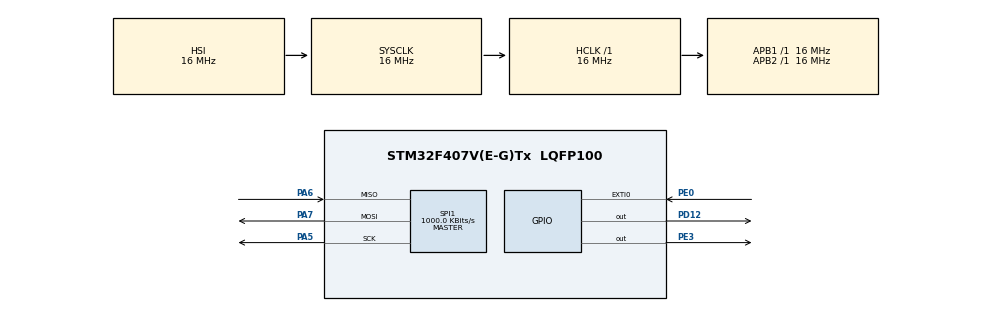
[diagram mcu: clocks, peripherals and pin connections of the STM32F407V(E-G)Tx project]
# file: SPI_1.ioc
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Mcu.Family=STM32F4
Mcu.Name=STM32F407V(E-G)Tx
Mcu.Package=LQFP100
NVIC.EXTI0_IRQn=true\:0\:0\:false\:false\:true\:true\:true
NVIC.PriorityGroup=NVIC_PRIORITYGROUP_4
PA5.Mode=Full_Duplex_Master
PA5.Signal=SPI1_SCK
PA6.Mode=Full_Duplex_Master
PA6.Signal=SPI1_MISO
PA7.Mode=Full_Duplex_Master
PA7.Signal=SPI1_MOSI
PD12.Signal=GPIO_Output
PE0.Signal=GPXTI0
PE3.PinState=GPIO_PIN_SET
PE3.Signal=GPIO_Output
ProjectManager.HeapSize=0x200
ProjectManager.StackSize=0x400
ProjectManager.TargetToolchain=STM32CubeIDE
RCC.AHBFreq_Value=16000000
RCC.APB1Freq_Value=16000000
RCC.APB2Freq_Value=16000000
RCC.CortexFreq_Value=16000000
RCC.HSE_VALUE=25000000
RCC.HSI_VALUE=16000000
RCC.LSE_VALUE=32768
RCC.SYSCLKFreq_VALUE=16000000
RCC.VCOOutputFreq_Value=192000000
SPI1.BaudRatePrescaler=SPI_BAUDRATEPRESCALER_16
SPI1.CalculateBaudRate=1000.0 KBits/s
SPI1.Direction=SPI_DIRECTION_2LINES
SPI1.Mode=SPI_MODE_MASTER
SPI1.VirtualType=VM_MASTER
board=custom

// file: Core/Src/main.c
/* USER CODE BEGIN Header */
/**
  ******************************************************************************
  * @file           : main.c
  * @brief          : Main program body
  ******************************************************************************
  * @attention
  *
  * <h2><center>&copy; Copyright (c) 2021 STMicroelectronics.
  * All rights reserved.</center></h2>
  *
  * This software component is licensed by ST under BSD 3-Clause license,
  * the "License"; You may not use this file except in compliance with the
  * License. You may obtain a copy of the License at:
  *                        opensource.org/licenses/BSD-3-Clause
  *
  ******************************************************************************
  */
/* USER CODE END Header */
#include "main.h"

SPI_HandleTypeDef hspi1;

void SystemClock_Config(void);
static void MX_GPIO_Init(void);
static void MX_SPI1_Init(void);

/* USER CODE BEGIN 0 */

// enable 2 variables /buffers ,Tx +Rx , Tx buffer store info to be transmitted (via SPI), Rx stores received data
uint8_t spiTxBuf[2], spiRxBuf[2];

/* USER CODE END 0 */

int main(void)
{

  /* MCU Configuration--------------------------------------------------------*/

  /* Reset of all peripherals, Initializes the Flash interface and the Systick. */
  HAL_Init();

  /* Configure the system clock */
  SystemClock_Config();

  /* Initialize all configured peripherals */
  MX_GPIO_Init();
  MX_SPI1_Init();
  /* USER CODE BEGIN 2 */

  /*******SPI Transmit*******/
  //1. Bring slave select (PE3) LOW (ON/activates slave)
  HAL_GPIO_WritePin(GPIOE, GPIO_PIN_3, GPIO_PIN_RESET); //reset -> LOW

  //2. The Transmit register address [0x20] + data in [0x11],
  spiTxBuf[0] = 0x20; //register address for control reg 4 (enables it - 0x20)
  spiTxBuf[1] = 0x31; //write data to control reg 4, 0x11 enable x-axi and ODR = 3Hz (look at doc for 0x31)
  //Write 0x20 and 0x11 to the reg
  HAL_SPI_Transmit(&hspi1,spiTxBuf,2,50); //takes handle,txbuffer address(just array),2bytes(data size),50ms(timeout)

  //3. Bring slave select HIGH
  HAL_GPIO_WritePin(GPIOE, GPIO_PIN_3, GPIO_PIN_SET); //set -> HIGH

  /*******SPI Receive********/
  //read data from reg 0x20 (control reg 4) to verify data is written

  //1. Bring slave select LOW
  HAL_GPIO_WritePin(GPIOE, GPIO_PIN_3, GPIO_PIN_RESET);

  //2. Transmit register address + 0x80 to set MSB (most sig big) HIGH [enables read mode]
  spiTxBuf[0] = 0x20 | 0x80; // | = or ,for interrupt use ctrl reg 3 = 0x23
  spiTxBuf[1] = 0xC8; //comment out if no interrupt, for interrupt set to 0xC8

  //then transmit it to slave device (using HAL transmit func)
  HAL_SPI_Transmit(&hspi1,spiTxBuf,1,50); // only sending 1 byte

  //3. Receive data
  HAL_SPI_Receive(&hspi1, spiRxBuf, 1,50);// read only 1 byte as this is 1 byte reg (data sheet)- control reg 4

  //4. Bring slave select HIGH (default OFF)
  HAL_GPIO_WritePin(GPIOE, GPIO_PIN_3, GPIO_PIN_SET);

  /* USER CODE END 2 */

  /* Infinite loop */
  while (1)
  {

    /* USER CODE BEGIN 3 */
//	/*******SPI Receive- Continous reading of x-axis acceleration********/
//	//x-axis (tilting the board on its x-axis )
//	//1. Bring slave select LOW
//	HAL_GPIO_WritePin(GPIOE, GPIO_PIN_3, GPIO_PIN_RESET);
//
//	//2. Transmit register address + 0x80 to set MSB (most sig big) HIGH [enables read mode]
//	spiTxBuf[0] = 0x29 | 0x80; // this one register 29
//
//	//then transmit it to slave device (using HAL transmit func)
//	HAL_SPI_Transmit(&hspi1,spiTxBuf,1,50); // only sending 1 byte
//
//	//3. Receive data
//	HAL_SPI_Receive(&hspi1, spiRxBuf, 1,50);// read only 1 byte as this is 1 byte reg (data sheet)- control reg 4
//
//	//4. Bring slave select HIGH (default OFF)
//	HAL_GPIO_WritePin(GPIOE, GPIO_PIN_3, GPIO_PIN_SET);
//
//	HAL_Delay(300); // reading every 300ms (polling method) - not efficient as continously reading (use interrupt)

  }
  /* USER CODE END 3 */
}

void SystemClock_Config(void)
{
  RCC_OscInitTypeDef RCC_OscInitStruct = {0};
  RCC_ClkInitTypeDef RCC_ClkInitStruct = {0};

  /** Configure the main internal regulator output voltage
  */
  __HAL_RCC_PWR_CLK_ENABLE();
  __HAL_PWR_VOLTAGESCALING_CONFIG(PWR_REGULATOR_VOLTAGE_SCALE1);
  /** Initializes the RCC Oscillators according to the specified parameters
  * in the RCC_OscInitTypeDef structure.
  */
  RCC_OscInitStruct.OscillatorType = RCC_OSCILLATORTYPE_HSI;
  RCC_OscInitStruct.HSIState = RCC_HSI_ON;
  RCC_OscInitStruct.HSICalibrationValue = RCC_HSICALIBRATION_DEFAULT;
  RCC_OscInitStruct.PLL.PLLState = RCC_PLL_NONE;
  if (HAL_RCC_OscConfig(&RCC_OscInitStruct) != HAL_OK)
  {
    Error_Handler();
  }
  /** Initializes the CPU, AHB and APB buses clocks
  */
  RCC_ClkInitStruct.ClockType = RCC_CLOCKTYPE_HCLK|RCC_CLOCKTYPE_SYSCLK
                              |RCC_CLOCKTYPE_PCLK1|RCC_CLOCKTYPE_PCLK2;
  RCC_ClkInitStruct.SYSCLKSource = RCC_SYSCLKSOURCE_HSI;
  RCC_ClkInitStruct.AHBCLKDivider = RCC_SYSCLK_DIV1;
  RCC_ClkInitStruct.APB1CLKDivider = RCC_HCLK_DIV1;
  RCC_ClkInitStruct.APB2CLKDivider = RCC_HCLK_DIV1;

  if (HAL_RCC_ClockConfig(&RCC_ClkInitStruct, FLASH_LATENCY_0) != HAL_OK)
  {
    Error_Handler();
  }
}

static void MX_SPI1_Init(void)
{

  /* SPI1 parameter configuration*/
  hspi1.Instance = SPI1;
  hspi1.Init.Mode = SPI_MODE_MASTER;
  hspi1.Init.Direction = SPI_DIRECTION_2LINES;
  hspi1.Init.DataSize = SPI_DATASIZE_8BIT;
  hspi1.Init.CLKPolarity = SPI_POLARITY_LOW;
  hspi1.Init.CLKPhase = SPI_PHASE_1EDGE;
  hspi1.Init.NSS = SPI_NSS_SOFT;
  hspi1.Init.BaudRatePrescaler = SPI_BAUDRATEPRESCALER_16;
  hspi1.Init.FirstBit = SPI_FIRSTBIT_MSB;
  hspi1.Init.TIMode = SPI_TIMODE_DISABLE;
  hspi1.Init.CRCCalculation = SPI_CRCCALCULATION_DISABLE;
  hspi1.Init.CRCPolynomial = 10;
  if (HAL_SPI_Init(&hspi1) != HAL_OK)
  {
    Error_Handler();
  }

}

static void MX_GPIO_Init(void)
{
  GPIO_InitTypeDef GPIO_InitStruct = {0};

  /* GPIO Ports Clock Enable */
  __HAL_RCC_GPIOE_CLK_ENABLE();
  __HAL_RCC_GPIOA_CLK_ENABLE();
  __HAL_RCC_GPIOD_CLK_ENABLE();

  /*Configure GPIO pin Output Level */
  HAL_GPIO_WritePin(GPIOE, GPIO_PIN_3, GPIO_PIN_SET);

  /*Configure GPIO pin Output Level */
  HAL_GPIO_WritePin(GPIOD, GPIO_PIN_12, GPIO_PIN_RESET);

  /*Configure GPIO pin : PE3 */
  GPIO_InitStruct.Pin = GPIO_PIN_3;
  GPIO_InitStruct.Mode = GPIO_MODE_OUTPUT_PP;
  GPIO_InitStruct.Pull = GPIO_NOPULL;
  GPIO_InitStruct.Speed = GPIO_SPEED_FREQ_LOW;
  HAL_GPIO_Init(GPIOE, &GPIO_InitStruct);

  /*Configure GPIO pin : PD12 */
  GPIO_InitStruct.Pin = GPIO_PIN_12;
  GPIO_InitStruct.Mode = GPIO_MODE_OUTPUT_PP;
  GPIO_InitStruct.Pull = GPIO_NOPULL;
  GPIO_InitStruct.Speed = GPIO_SPEED_FREQ_LOW;
  HAL_GPIO_Init(GPIOD, &GPIO_InitStruct);

  /*Configure GPIO pin : PE0 */
  GPIO_InitStruct.Pin = GPIO_PIN_0;
  GPIO_InitStruct.Mode = GPIO_MODE_IT_RISING;
  GPIO_InitStruct.Pull = GPIO_NOPULL;
  HAL_GPIO_Init(GPIOE, &GPIO_InitStruct);

  /* EXTI interrupt init*/
  HAL_NVIC_SetPriority(EXTI0_IRQn, 0, 0);
  HAL_NVIC_EnableIRQ(EXTI0_IRQn);

}

/* USER CODE BEGIN 4 */

//call back this func when interrupt occurs,read data from x-axis of accelerometer reg
void HAL_GPIO_EXTI_Callback(uint16_t GPIO_Pin)
{
  /* Prevent unused argument(s) compilation warning */
  UNUSED(GPIO_Pin);
  /* NOTE: This function Should not be modified, when the callback is needed,
           the HAL_GPIO_EXTI_Callback could be implemented in the user file
   */
  //copy reading data code to this callback (for using interrupt)
      /*******SPI Receive - continous reading********/
      //read data from reg 0x20 (control reg 4) to verify data is written

      //1. Bring slave select LOW
      HAL_GPIO_WritePin(GPIOE, GPIO_PIN_3, GPIO_PIN_RESET);

      //2. Transmit register address + 0x80 to set MSB (most sig big) HIGH [enables read mode]
      spiTxBuf[0] = 0x29 | 0x80; // on reg 29 (datasheet)
      //then transmit it to slave device (using HAL transmit func)
      HAL_SPI_Transmit(&hspi1,spiTxBuf,1,50); // only sending 1 byte

      //3. Receive data
      HAL_SPI_Receive(&hspi1, spiRxBuf, 1,50);// read only 1 byte as this is 1 byte reg (data sheet)- control reg 4

      //4. Bring slave select HIGH (default OFF)
      HAL_GPIO_WritePin(GPIOE, GPIO_PIN_3, GPIO_PIN_SET);

  HAL_GPIO_TogglePin(GPIOD, GPIO_PIN_12); // blink LED, blinks at the rate set (ODR)

}

/* USER CODE END 4 */

void Error_Handler(void)
{
  __disable_irq();
  while (1)
  {
  }
}

/************************ (C) COPYRIGHT STMicroelectronics *****END OF FILE****/
